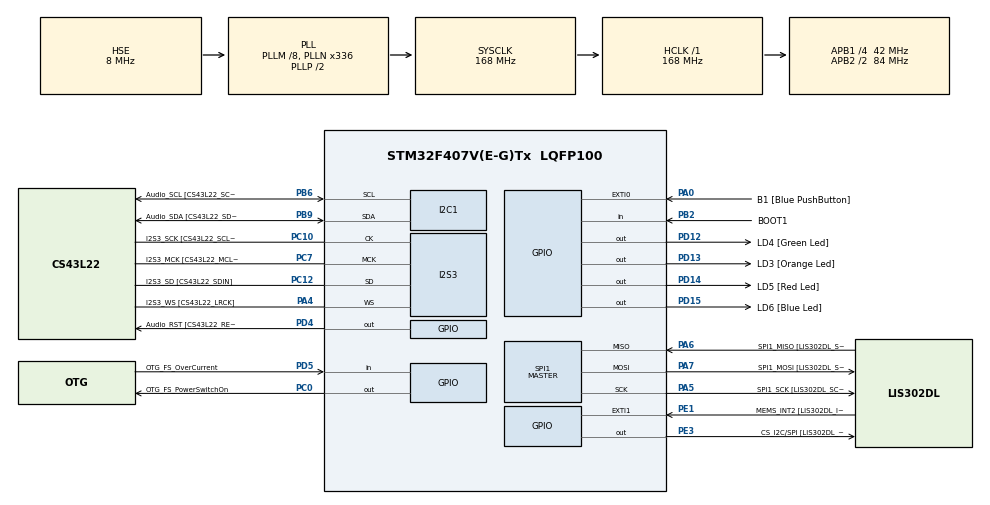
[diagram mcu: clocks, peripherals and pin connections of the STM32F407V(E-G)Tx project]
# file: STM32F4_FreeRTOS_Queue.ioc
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FREERTOS.Queues01=myLedQueue,8,uint8_t,0,Dynamic,NULL,NULL
FREERTOS.Tasks01=defaultTask,24,256,StartDefaultTask,Default,NULL,Dynamic,NULL,NULL;mySendingTask,24,256,StartSendingTask,Default,NULL,Dynamic,NULL,NULL;myReceivingTask,24,256,StartReceivingTask,Default,NULL,Dynamic,NULL,NULL
FREERTOS.configMINIMAL_STACK_SIZE=256
I2S3.AudioFreq-Half_Duplex_Master=I2S_AUDIOFREQ_96K
I2S3.ErrorAudioFreq=-2.34 %
I2S3.ErrorAudioFreq-Half_Duplex_Master=0.8 %
I2S3.FullDuplexMode=I2S_FULLDUPLEXMODE_DISABLE
I2S3.Instance=SPI$Index
I2S3.RealAudioFreq=93.75 KHz
I2S3.RealAudioFreq-Half_Duplex_Master=96.774 KHz
I2S3.VirtualMode=I2S_MODE_MASTER
Mcu.Family=STM32F4
Mcu.Name=STM32F407V(E-G)Tx
Mcu.Package=LQFP100
NVIC.PriorityGroup=NVIC_PRIORITYGROUP_4
NVIC.TIM6_DAC_IRQn=true\:15\:0\:false\:false\:true\:false\:false\:true\:true
NVIC.TimeBase=TIM6_DAC_IRQn
NVIC.TimeBaseIP=TIM6
PA0-WKUP.GPIO_Label=B1 [Blue PushButton]
PA0-WKUP.GPIO_ModeDefaultEXTI=GPIO_MODE_EVT_RISING
PA0-WKUP.GPIO_PuPd=GPIO_NOPULL
PA0-WKUP.Signal=GPXTI0
PA10.GPIO_Label=OTG_FS_ID
PA10.GPIO_Mode=GPIO_MODE_AF_PP
PA10.GPIO_PuPd=GPIO_NOPULL
PA10.GPIO_Speed=GPIO_SPEED_FREQ_LOW
PA10.Signal=USB_OTG_FS_ID
PA11.GPIO_Label=OTG_FS_DM
PA11.GPIO_Mode=GPIO_MODE_AF_PP
PA11.GPIO_PuPd=GPIO_NOPULL
PA11.GPIO_Speed=GPIO_SPEED_FREQ_LOW
PA11.Signal=USB_OTG_FS_DM
PA12.GPIO_Label=OTG_FS_DP
PA12.GPIO_Mode=GPIO_MODE_AF_PP
PA12.GPIO_PuPd=GPIO_NOPULL
PA12.GPIO_Speed=GPIO_SPEED_FREQ_LOW
PA12.Signal=USB_OTG_FS_DP
PA13.GPIO_Label=SWDIO
PA13.Mode=Serial_Wire
PA13.Signal=SYS_JTMS-SWDIO
PA14.GPIO_Label=SWCLK
PA14.Mode=Serial_Wire
PA14.Signal=SYS_JTCK-SWCLK
PA4.GPIO_Label=I2S3_WS [CS43L22_LRCK]
PA4.GPIO_Mode=GPIO_MODE_AF_PP
PA4.GPIO_PuPd=GPIO_NOPULL
PA4.GPIO_Speed=GPIO_SPEED_FREQ_LOW
PA4.Mode=Half_Duplex_Master
PA4.Signal=I2S3_WS
PA5.GPIO_Label=SPI1_SCK [LIS302DL_SCL/SPC]
PA5.GPIO_Mode=GPIO_MODE_AF_PP
PA5.GPIO_PuPd=GPIO_NOPULL
PA5.GPIO_Speed=GPIO_SPEED_FREQ_LOW
PA5.Mode=Full_Duplex_Master
PA5.Signal=SPI1_SCK
PA6.GPIO_Label=SPI1_MISO [LIS302DL_SDO]
PA6.GPIO_Mode=GPIO_MODE_AF_PP
PA6.GPIO_PuPd=GPIO_NOPULL
PA6.GPIO_Speed=GPIO_SPEED_FREQ_LOW
PA6.Mode=Full_Duplex_Master
PA6.Signal=SPI1_MISO
PA7.GPIO_Label=SPI1_MOSI [LIS302DL_SDA/SDI/SDO]
PA7.GPIO_Mode=GPIO_MODE_AF_PP
PA7.GPIO_PuPd=GPIO_NOPULL
PA7.GPIO_Speed=GPIO_SPEED_FREQ_LOW
PA7.Mode=Full_Duplex_Master
PA7.Signal=SPI1_MOSI
PA9.GPIO_Label=VBUS_FS
PA9.GPIO_Mode=GPIO_MODE_INPUT
PA9.GPIO_PuPd=GPIO_NOPULL
PA9.Signal=USB_OTG_FS_VBUS
PB10.GPIO_Label=CLK_IN [MP45DT02_CLK]
PB10.GPIO_Mode=GPIO_MODE_AF_PP
PB10.GPIO_PuPd=GPIO_NOPULL
PB10.GPIO_Speed=GPIO_SPEED_FREQ_LOW
PB10.Signal=I2S2_CK
PB2.GPIO_Label=BOOT1
PB2.GPIO_Mode=GPIO_MODE_INPUT
PB2.GPIO_PuPd=GPIO_NOPULL
PB2.Signal=GPIO_Input
PB3.GPIO_Label=SWO
PB3.Signal=SYS_JTDO-SWO
PB6.GPIO_Label=Audio_SCL [CS43L22_SCL]
PB6.GPIO_Mode=GPIO_MODE_AF_OD
PB6.GPIO_Pu=GPIO_PULLUP
PB6.GPIO_PuPd=GPIO_NOPULL
PB6.GPIO_Speed=GPIO_SPEED_FREQ_LOW
PB6.Mode=I2C
PB6.Signal=I2C1_SCL
PB9.GPIO_Label=Audio_SDA [CS43L22_SDA]
PB9.GPIO_Mode=GPIO_MODE_AF_OD
PB9.GPIO_Pu=GPIO_PULLUP
PB9.GPIO_PuPd=GPIO_NOPULL
PB9.GPIO_Speed=GPIO_SPEED_FREQ_LOW
PB9.Mode=I2C
PB9.Signal=I2C1_SDA
PC0.GPIO_Label=OTG_FS_PowerSwitchOn
PC0.GPIO_PuPd=GPIO_NOPULL
PC0.GPIO_Speed=GPIO_SPEED_FREQ_LOW
PC0.PinState=GPIO_PIN_SET
PC0.Signal=GPIO_Output
PC10.GPIO_Label=I2S3_SCK [CS43L22_SCLK]
PC10.GPIO_Mode=GPIO_MODE_AF_PP
PC10.GPIO_PuPd=GPIO_NOPULL
PC10.GPIO_Speed=GPIO_SPEED_FREQ_LOW
PC10.Mode=Half_Duplex_Master
PC10.Signal=I2S3_CK
PC12.GPIO_Label=I2S3_SD [CS43L22_SDIN]
PC12.GPIO_Mode=GPIO_MODE_AF_PP
PC12.GPIO_PuPd=GPIO_NOPULL
PC12.GPIO_Speed=GPIO_SPEED_FREQ_LOW
PC12.Mode=Half_Duplex_Master
PC12.Signal=I2S3_SD
PC14-OSC32_IN.GPIO_Label=PC14-OSC32_IN
PC14-OSC32_IN.Mode=LSE-External-Oscillator
PC14-OSC32_IN.Signal=RCC_OSC32_IN
PC15-OSC32_OUT.GPIO_Label=PC15-OSC32_OUT
PC15-OSC32_OUT.Mode=LSE-External-Oscillator
PC15-OSC32_OUT.Signal=RCC_OSC32_OUT
PC3.GPIO_Label=PDM_OUT [MP45DT02_DOUT]
PC3.GPIO_Mode=GPIO_MODE_AF_PP
PC3.GPIO_PuPd=GPIO_NOPULL
PC3.GPIO_Speed=GPIO_SPEED_FREQ_LOW
PC3.Signal=I2S2_SD
PC7.GPIO_Label=I2S3_MCK [CS43L22_MCLK]
PC7.GPIO_Mode=GPIO_MODE_AF_PP
PC7.GPIO_PuPd=GPIO_NOPULL
PC7.GPIO_Speed=GPIO_SPEED_FREQ_LOW
PC7.Mode=Master_Clock_Activated
PC7.Signal=I2S3_MCK
PD12.GPIO_Label=LD4 [Green Led]
PD12.GPIO_PuPd=GPIO_NOPULL
PD12.GPIO_Speed=GPIO_SPEED_FREQ_LOW
PD12.Signal=GPIO_Output
PD13.GPIO_Label=LD3 [Orange Led]
PD13.GPIO_PuPd=GPIO_NOPULL
PD13.GPIO_Speed=GPIO_SPEED_FREQ_LOW
PD13.Signal=GPIO_Output
PD14.GPIO_Label=LD5 [Red Led]
PD14.GPIO_PuPd=GPIO_NOPULL
PD14.GPIO_Speed=GPIO_SPEED_FREQ_LOW
PD14.Signal=GPIO_Output
PD15.GPIO_Label=LD6 [Blue Led]
PD15.GPIO_PuPd=GPIO_NOPULL
PD15.GPIO_Speed=GPIO_SPEED_FREQ_LOW
PD15.Signal=GPIO_Output
PD4.GPIO_Label=Audio_RST [CS43L22_RESET]
PD4.GPIO_PuPd=GPIO_NOPULL
PD4.GPIO_Speed=GPIO_SPEED_FREQ_LOW
PD4.Signal=GPIO_Output
PD5.GPIO_Label=OTG_FS_OverCurrent
PD5.GPIO_Mode=GPIO_MODE_INPUT
PD5.GPIO_PuPd=GPIO_NOPULL
PD5.Signal=GPIO_Input
PE1.GPIO_Label=MEMS_INT2 [LIS302DL_INT2]
PE1.GPIO_ModeDefaultEXTI=GPIO_MODE_EVT_RISING
PE1.GPIO_PuPd=GPIO_NOPULL
PE1.Signal=GPXTI1
PE3.GPIO_Label=CS_I2C/SPI [LIS302DL_CS_I2C/SPI]
PE3.GPIO_PuPd=GPIO_NOPULL
PE3.GPIO_Speed=GPIO_SPEED_FREQ_LOW
PE3.Signal=GPIO_Output
PH0-OSC_IN.GPIO_Label=PH0-OSC_IN
PH0-OSC_IN.Mode=HSE-External-Oscillator
PH0-OSC_IN.Signal=RCC_OSC_IN
PH1-OSC_OUT.GPIO_Label=PH1-OSC_OUT
PH1-OSC_OUT.Mode=HSE-External-Oscillator
PH1-OSC_OUT.Signal=RCC_OSC_OUT
ProjectManager.HeapSize=0x200
ProjectManager.StackSize=0x400
ProjectManager.TargetToolchain=STM32CubeIDE
RCC.48MHZClocksFreq_Value=48000000
RCC.AHBFreq_Value=168000000
RCC.APB1CLKDivider=RCC_HCLK_DIV4
RCC.APB1Freq_Value=42000000
RCC.APB1TimFreq_Value=84000000
RCC.APB2CLKDivider=RCC_HCLK_DIV2
RCC.APB2Freq_Value=84000000
RCC.APB2TimFreq_Value=168000000
RCC.CortexFreq_Value=168000000
RCC.HCLKFreq_Value=168000000
RCC.HSE_VALUE=8000000
RCC.HSI_VALUE=16000000
RCC.PLLM=8
RCC.PLLN=336
RCC.PLLQ=7
RCC.PLLSourceVirtual=RCC_PLLSOURCE_HSE
RCC.SYSCLKFreq_VALUE=168000000
RCC.SYSCLKSource=RCC_SYSCLKSOURCE_PLLCLK
RCC.VCOOutputFreq_Value=336000000
SPI1.BaudRatePrescaler-Full_Duplex_Master=SPI_BAUDRATEPRESCALER_2
SPI1.CalculateBaudRate-Full_Duplex_Master=42.0 MBits/s
SPI1.Direction=SPI_DIRECTION_2LINES
SPI1.Mode=SPI_MODE_MASTER
SPI1.Mode-Full_Duplex_Master=SPI_MODE_MASTER
SPI1.VirtualType=VM_MASTER
VP_FREERTOS_VS_CMSIS_V2.Mode=CMSIS_V2
VP_SYS_VS_tim6.Mode=TIM6
board=STM32F407G-DISC1

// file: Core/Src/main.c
/* USER CODE BEGIN Header */
/**
  ******************************************************************************
  * @file           : main.c
  * @brief          : Main program body
  ******************************************************************************
  * @attention
  *
  * Copyright (c) 2023 STMicroelectronics.
  * All rights reserved.
  *
  * This software is licensed under terms that can be found in the LICENSE file
  * in the root directory of this software component.
  * If no LICENSE file comes with this software, it is provided AS-IS.
  *
  ******************************************************************************
  */
/* USER CODE END Header */
#include "main.h"
#include "cmsis_os.h"

/* USER CODE BEGIN Includes */
#include "stdio.h" 				//printf

/* USER CODE END Includes */

I2C_HandleTypeDef hi2c1;

I2S_HandleTypeDef hi2s3;

SPI_HandleTypeDef hspi1;

/* Definitions for defaultTask */
osThreadId_t defaultTaskHandle;
const osThreadAttr_t defaultTask_attributes = {
  .name = "defaultTask",
  .stack_size = 256 * 4,
  .priority = (osPriority_t) osPriorityNormal,
};
/* Definitions for mySendingTask */
osThreadId_t mySendingTaskHandle;
const osThreadAttr_t mySendingTask_attributes = {
  .name = "mySendingTask",
  .stack_size = 256 * 4,
  .priority = (osPriority_t) osPriorityNormal,
};
/* Definitions for myReceivingTask */
osThreadId_t myReceivingTaskHandle;
const osThreadAttr_t myReceivingTask_attributes = {
  .name = "myReceivingTask",
  .stack_size = 256 * 4,
  .priority = (osPriority_t) osPriorityNormal,
};
/* Definitions for myLedQueue */
osMessageQueueId_t myLedQueueHandle;
const osMessageQueueAttr_t myLedQueue_attributes = {
  .name = "myLedQueue"
};
/* USER CODE BEGIN PV */

typedef enum
{ 	ALL_OFF = 0,
	GREEN_ON = 1,
	GREEN_OFF = 2,
	BLUE_ON = 3,
	BLUE_OFF = 4,
	ORANGE_ON = 5,
	ORANGE_OFF = 6,
	ALL_ON = 7
}LED_COMMANDS;

/* USER CODE END PV */

void SystemClock_Config(void);
static void MX_GPIO_Init(void);
static void MX_I2C1_Init(void);
static void MX_I2S3_Init(void);
static void MX_SPI1_Init(void);
void StartDefaultTask(void *argument);
void StartSendingTask(void *argument);
void StartReceivingTask(void *argument);

/* USER CODE BEGIN 0 */

//write() function implementation for the printf() to the ITM
int _write(int file, char *ptr, int len)
{
	/* Implement your write code here, this is used by puts and printf for example */
	for(int i=0 ; i<len ; i++)
		ITM_SendChar((*ptr++));
	return len;
}

/* USER CODE END 0 */

int main(void)
{

  /* MCU Configuration--------------------------------------------------------*/

  /* Reset of all peripherals, Initializes the Flash interface and the Systick. */
  HAL_Init();

  /* Configure the system clock */
  SystemClock_Config();

  /* Initialize all configured peripherals */
  MX_GPIO_Init();
  MX_I2C1_Init();
  MX_I2S3_Init();
  MX_SPI1_Init();

  /* Init scheduler */
  osKernelInitialize();

  /* Create the queue(s) */
  /* creation of myLedQueue */
  myLedQueueHandle = osMessageQueueNew (8, sizeof(uint8_t), &myLedQueue_attributes);

  /* Create the thread(s) */
  /* creation of defaultTask */
  defaultTaskHandle = osThreadNew(StartDefaultTask, NULL, &defaultTask_attributes);

  /* creation of mySendingTask */
  mySendingTaskHandle = osThreadNew(StartSendingTask, NULL, &mySendingTask_attributes);

  /* creation of myReceivingTask */
  myReceivingTaskHandle = osThreadNew(StartReceivingTask, NULL, &myReceivingTask_attributes);

  /* Start scheduler */
  osKernelStart();
  /* We should never get here as control is now taken by the scheduler */
  /* Infinite loop */
  while (1)
  {

  }
}

void SystemClock_Config(void)
{
  RCC_OscInitTypeDef RCC_OscInitStruct = {0};
  RCC_ClkInitTypeDef RCC_ClkInitStruct = {0};

  /** Configure the main internal regulator output voltage
  */
  __HAL_RCC_PWR_CLK_ENABLE();
  __HAL_PWR_VOLTAGESCALING_CONFIG(PWR_REGULATOR_VOLTAGE_SCALE1);

  /** Initializes the RCC Oscillators according to the specified parameters
  * in the RCC_OscInitTypeDef structure.
  */
  RCC_OscInitStruct.OscillatorType = RCC_OSCILLATORTYPE_HSE;
  RCC_OscInitStruct.HSEState = RCC_HSE_ON;
  RCC_OscInitStruct.PLL.PLLState = RCC_PLL_ON;
  RCC_OscInitStruct.PLL.PLLSource = RCC_PLLSOURCE_HSE;
  RCC_OscInitStruct.PLL.PLLM = 8;
  RCC_OscInitStruct.PLL.PLLN = 336;
  RCC_OscInitStruct.PLL.PLLP = RCC_PLLP_DIV2;
  RCC_OscInitStruct.PLL.PLLQ = 7;
  if (HAL_RCC_OscConfig(&RCC_OscInitStruct) != HAL_OK)
  {
    Error_Handler();
  }

  /** Initializes the CPU, AHB and APB buses clocks
  */
  RCC_ClkInitStruct.ClockType = RCC_CLOCKTYPE_HCLK|RCC_CLOCKTYPE_SYSCLK
                              |RCC_CLOCKTYPE_PCLK1|RCC_CLOCKTYPE_PCLK2;
  RCC_ClkInitStruct.SYSCLKSource = RCC_SYSCLKSOURCE_PLLCLK;
  RCC_ClkInitStruct.AHBCLKDivider = RCC_SYSCLK_DIV1;
  RCC_ClkInitStruct.APB1CLKDivider = RCC_HCLK_DIV4;
  RCC_ClkInitStruct.APB2CLKDivider = RCC_HCLK_DIV2;

  if (HAL_RCC_ClockConfig(&RCC_ClkInitStruct, FLASH_LATENCY_5) != HAL_OK)
  {
    Error_Handler();
  }
}

static void MX_I2C1_Init(void)
{

  hi2c1.Instance = I2C1;
  hi2c1.Init.ClockSpeed = 100000;
  hi2c1.Init.DutyCycle = I2C_DUTYCYCLE_2;
  hi2c1.Init.OwnAddress1 = 0;
  hi2c1.Init.AddressingMode = I2C_ADDRESSINGMODE_7BIT;
  hi2c1.Init.DualAddressMode = I2C_DUALADDRESS_DISABLE;
  hi2c1.Init.OwnAddress2 = 0;
  hi2c1.Init.GeneralCallMode = I2C_GENERALCALL_DISABLE;
  hi2c1.Init.NoStretchMode = I2C_NOSTRETCH_DISABLE;
  if (HAL_I2C_Init(&hi2c1) != HAL_OK)
  {
    Error_Handler();
  }

}

static void MX_I2S3_Init(void)
{

  hi2s3.Instance = SPI3;
  hi2s3.Init.Mode = I2S_MODE_MASTER_TX;
  hi2s3.Init.Standard = I2S_STANDARD_PHILIPS;
  hi2s3.Init.DataFormat = I2S_DATAFORMAT_16B;
  hi2s3.Init.MCLKOutput = I2S_MCLKOUTPUT_ENABLE;
  hi2s3.Init.AudioFreq = I2S_AUDIOFREQ_96K;
  hi2s3.Init.CPOL = I2S_CPOL_LOW;
  hi2s3.Init.ClockSource = I2S_CLOCK_PLL;
  hi2s3.Init.FullDuplexMode = I2S_FULLDUPLEXMODE_DISABLE;
  if (HAL_I2S_Init(&hi2s3) != HAL_OK)
  {
    Error_Handler();
  }

}

static void MX_SPI1_Init(void)
{

  /* SPI1 parameter configuration*/
  hspi1.Instance = SPI1;
  hspi1.Init.Mode = SPI_MODE_MASTER;
  hspi1.Init.Direction = SPI_DIRECTION_2LINES;
  hspi1.Init.DataSize = SPI_DATASIZE_8BIT;
  hspi1.Init.CLKPolarity = SPI_POLARITY_LOW;
  hspi1.Init.CLKPhase = SPI_PHASE_1EDGE;
  hspi1.Init.NSS = SPI_NSS_SOFT;
  hspi1.Init.BaudRatePrescaler = SPI_BAUDRATEPRESCALER_2;
  hspi1.Init.FirstBit = SPI_FIRSTBIT_MSB;
  hspi1.Init.TIMode = SPI_TIMODE_DISABLE;
  hspi1.Init.CRCCalculation = SPI_CRCCALCULATION_DISABLE;
  hspi1.Init.CRCPolynomial = 10;
  if (HAL_SPI_Init(&hspi1) != HAL_OK)
  {
    Error_Handler();
  }

}

static void MX_GPIO_Init(void)
{
  GPIO_InitTypeDef GPIO_InitStruct = {0};

  /* GPIO Ports Clock Enable */
  __HAL_RCC_GPIOE_CLK_ENABLE();
  __HAL_RCC_GPIOC_CLK_ENABLE();
  __HAL_RCC_GPIOH_CLK_ENABLE();
  __HAL_RCC_GPIOA_CLK_ENABLE();
  __HAL_RCC_GPIOB_CLK_ENABLE();
  __HAL_RCC_GPIOD_CLK_ENABLE();

  /*Configure GPIO pin Output Level */
  HAL_GPIO_WritePin(CS_I2C_SPI_GPIO_Port, CS_I2C_SPI_Pin, GPIO_PIN_RESET);

  /*Configure GPIO pin Output Level */
  HAL_GPIO_WritePin(OTG_FS_PowerSwitchOn_GPIO_Port, OTG_FS_PowerSwitchOn_Pin, GPIO_PIN_SET);

  /*Configure GPIO pin Output Level */
  HAL_GPIO_WritePin(GPIOD, LD4_Pin|LD3_Pin|LD5_Pin|LD6_Pin
                          |Audio_RST_Pin, GPIO_PIN_RESET);

  /*Configure GPIO pin : CS_I2C_SPI_Pin */
  GPIO_InitStruct.Pin = CS_I2C_SPI_Pin;
  GPIO_InitStruct.Mode = GPIO_MODE_OUTPUT_PP;
  GPIO_InitStruct.Pull = GPIO_NOPULL;
  GPIO_InitStruct.Speed = GPIO_SPEED_FREQ_LOW;
  HAL_GPIO_Init(CS_I2C_SPI_GPIO_Port, &GPIO_InitStruct);

  /*Configure GPIO pin : OTG_FS_PowerSwitchOn_Pin */
  GPIO_InitStruct.Pin = OTG_FS_PowerSwitchOn_Pin;
  GPIO_InitStruct.Mode = GPIO_MODE_OUTPUT_PP;
  GPIO_InitStruct.Pull = GPIO_NOPULL;
  GPIO_InitStruct.Speed = GPIO_SPEED_FREQ_LOW;
  HAL_GPIO_Init(OTG_FS_PowerSwitchOn_GPIO_Port, &GPIO_InitStruct);

  /*Configure GPIO pin : PDM_OUT_Pin */
  GPIO_InitStruct.Pin = PDM_OUT_Pin;
  GPIO_InitStruct.Mode = GPIO_MODE_AF_PP;
  GPIO_InitStruct.Pull = GPIO_NOPULL;
  GPIO_InitStruct.Speed = GPIO_SPEED_FREQ_LOW;
  GPIO_InitStruct.Alternate = GPIO_AF5_SPI2;
  HAL_GPIO_Init(PDM_OUT_GPIO_Port, &GPIO_InitStruct);

  /*Configure GPIO pin : B1_Pin */
  GPIO_InitStruct.Pin = B1_Pin;
  GPIO_InitStruct.Mode = GPIO_MODE_EVT_RISING;
  GPIO_InitStruct.Pull = GPIO_NOPULL;
  HAL_GPIO_Init(B1_GPIO_Port, &GPIO_InitStruct);

  /*Configure GPIO pin : BOOT1_Pin */
  GPIO_InitStruct.Pin = BOOT1_Pin;
  GPIO_InitStruct.Mode = GPIO_MODE_INPUT;
  GPIO_InitStruct.Pull = GPIO_NOPULL;
  HAL_GPIO_Init(BOOT1_GPIO_Port, &GPIO_InitStruct);

  /*Configure GPIO pin : CLK_IN_Pin */
  GPIO_InitStruct.Pin = CLK_IN_Pin;
  GPIO_InitStruct.Mode = GPIO_MODE_AF_PP;
  GPIO_InitStruct.Pull = GPIO_NOPULL;
  GPIO_InitStruct.Speed = GPIO_SPEED_FREQ_LOW;
  GPIO_InitStruct.Alternate = GPIO_AF5_SPI2;
  HAL_GPIO_Init(CLK_IN_GPIO_Port, &GPIO_InitStruct);

  /*Configure GPIO pins : LD4_Pin LD3_Pin LD5_Pin LD6_Pin
                           Audio_RST_Pin */
  GPIO_InitStruct.Pin = LD4_Pin|LD3_Pin|LD5_Pin|LD6_Pin
                          |Audio_RST_Pin;
  GPIO_InitStruct.Mode = GPIO_MODE_OUTPUT_PP;
  GPIO_InitStruct.Pull = GPIO_NOPULL;
  GPIO_InitStruct.Speed = GPIO_SPEED_FREQ_LOW;
  HAL_GPIO_Init(GPIOD, &GPIO_InitStruct);

  /*Configure GPIO pin : VBUS_FS_Pin */
  GPIO_InitStruct.Pin = VBUS_FS_Pin;
  GPIO_InitStruct.Mode = GPIO_MODE_INPUT;
  GPIO_InitStruct.Pull = GPIO_NOPULL;
  HAL_GPIO_Init(VBUS_FS_GPIO_Port, &GPIO_InitStruct);

  /*Configure GPIO pins : OTG_FS_ID_Pin OTG_FS_DM_Pin OTG_FS_DP_Pin */
  GPIO_InitStruct.Pin = OTG_FS_ID_Pin|OTG_FS_DM_Pin|OTG_FS_DP_Pin;
  GPIO_InitStruct.Mode = GPIO_MODE_AF_PP;
  GPIO_InitStruct.Pull = GPIO_NOPULL;
  GPIO_InitStruct.Speed = GPIO_SPEED_FREQ_LOW;
  GPIO_InitStruct.Alternate = GPIO_AF10_OTG_FS;
  HAL_GPIO_Init(GPIOA, &GPIO_InitStruct);

  /*Configure GPIO pin : OTG_FS_OverCurrent_Pin */
  GPIO_InitStruct.Pin = OTG_FS_OverCurrent_Pin;
  GPIO_InitStruct.Mode = GPIO_MODE_INPUT;
  GPIO_InitStruct.Pull = GPIO_NOPULL;
  HAL_GPIO_Init(OTG_FS_OverCurrent_GPIO_Port, &GPIO_InitStruct);

  /*Configure GPIO pin : MEMS_INT2_Pin */
  GPIO_InitStruct.Pin = MEMS_INT2_Pin;
  GPIO_InitStruct.Mode = GPIO_MODE_EVT_RISING;
  GPIO_InitStruct.Pull = GPIO_NOPULL;
  HAL_GPIO_Init(MEMS_INT2_GPIO_Port, &GPIO_InitStruct);

}

void StartDefaultTask(void *argument)
{
  for(;;)
  {
    osDelay(1);
  }
}

void StartSendingTask(void *argument)
{
  /* USER CODE BEGIN StartSendingTask */
  /* Infinite loop */
  for(;;)
  {
	  for(int i = 0; i < 8; i++)
	  {
		  uint8_t LedCMD = (LED_COMMANDS) i;
		  osMessageQueuePut(myLedQueueHandle, &LedCMD, 0, osWaitForever);
		  osDelay(200);
	  }

	  printf("SendingTask repeating!\n");
  }
  /* USER CODE END StartSendingTask */
}

void StartReceivingTask(void *argument)
{
  /* USER CODE BEGIN StartReceivingTask */
	uint8_t ReceivedCMD = 0;

  /* Infinite loop */
  for(;;)
  {
	  if(osMessageQueueGet(myLedQueueHandle, &ReceivedCMD, NULL, osWaitForever) == osOK)
	  {
		  printf("Received command = %d \n", ReceivedCMD);

		  switch(ReceivedCMD)
		  {
			  case ALL_OFF:
			  HAL_GPIO_WritePin(LD3_GPIO_Port, LD3_Pin, GPIO_PIN_RESET); //Orange
			  HAL_GPIO_WritePin(LD4_GPIO_Port, LD4_Pin, GPIO_PIN_RESET); //Green
			  HAL_GPIO_WritePin(LD6_GPIO_Port, LD6_Pin, GPIO_PIN_RESET); //Blue
			  break;
			  case GREEN_ON:
			  HAL_GPIO_WritePin(LD4_GPIO_Port, LD4_Pin, GPIO_PIN_SET);
			  break;
			  case GREEN_OFF:
			  HAL_GPIO_WritePin(LD4_GPIO_Port, LD4_Pin, GPIO_PIN_RESET);
			  break;
			  case BLUE_ON:
			  HAL_GPIO_WritePin(LD6_GPIO_Port, LD6_Pin, GPIO_PIN_SET);
			  break;
			  case BLUE_OFF:
			  HAL_GPIO_WritePin(LD6_GPIO_Port, LD6_Pin, GPIO_PIN_RESET);
			  break;
			  case ORANGE_ON:
			  HAL_GPIO_WritePin(LD3_GPIO_Port, LD3_Pin, GPIO_PIN_SET);
			  break;
			  case ORANGE_OFF:
			  HAL_GPIO_WritePin(LD3_GPIO_Port, LD3_Pin, GPIO_PIN_RESET);
			  break;
			  case ALL_ON:
			  HAL_GPIO_WritePin(LD3_GPIO_Port, LD3_Pin, GPIO_PIN_SET);
			  HAL_GPIO_WritePin(LD4_GPIO_Port, LD4_Pin, GPIO_PIN_SET);
			  HAL_GPIO_WritePin(LD6_GPIO_Port, LD6_Pin, GPIO_PIN_SET);
			  break;
		  }
	  }
  }
  /* USER CODE END StartReceivingTask */
}

void HAL_TIM_PeriodElapsedCallback(TIM_HandleTypeDef *htim)
{
  if (htim->Instance == TIM6) {
    HAL_IncTick();
  }
}

void Error_Handler(void)
{
  __disable_irq();
  while (1)
  {
  }
}
